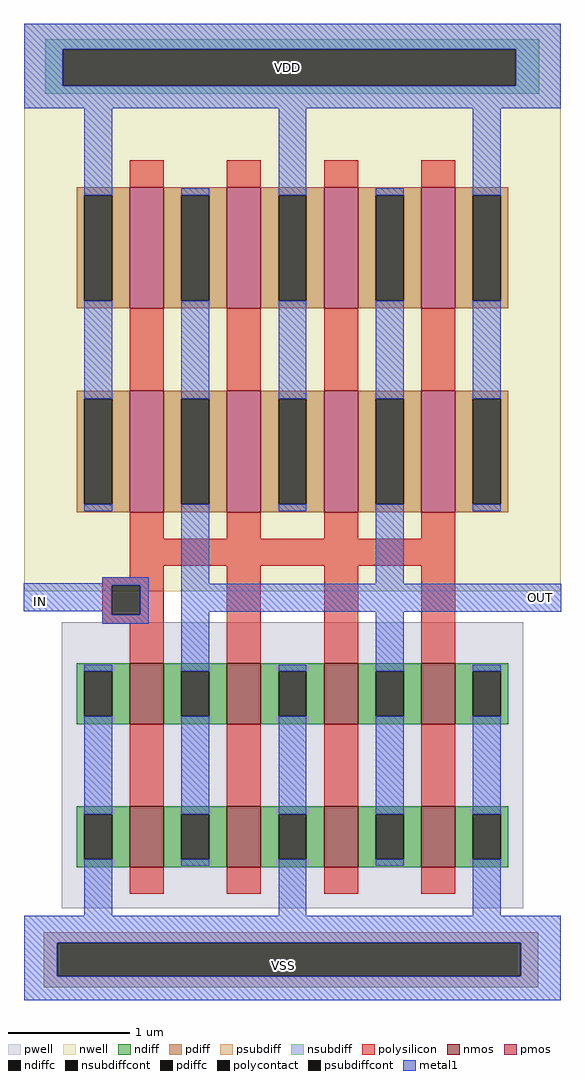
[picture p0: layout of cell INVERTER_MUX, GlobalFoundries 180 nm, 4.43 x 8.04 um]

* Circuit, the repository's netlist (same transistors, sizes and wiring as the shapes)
* NGSPICE file created from INVERTER_MUX.ext - technology: gf180mcuC

.subckt pmos_3p3_MWBYAR a_108_n268# a_n356_68# a_268_n268# a_268_68# a_n52_68# a_52_24#
+ a_108_68# a_n356_n268# a_52_n312# a_n52_n268# a_212_24# a_n108_n312# a_212_n312#
+ a_n212_68# a_n212_n268# a_n268_24# a_n268_n312# a_n108_24# w_n442_n398#
X0 a_268_68# a_212_24# a_108_68# w_n442_n398# pfet_03v3 ad=0.44p pd=2.88u as=0.26p ps=1.52u w=1u l=0.28u
X1 a_n212_68# a_n268_24# a_n356_68# w_n442_n398# pfet_03v3 ad=0.26p pd=1.52u as=0.44p ps=2.88u w=1u l=0.28u
X2 a_108_n268# a_52_n312# a_n52_n268# w_n442_n398# pfet_03v3 ad=0.26p pd=1.52u as=0.26p ps=1.52u w=1u l=0.28u
X3 a_268_n268# a_212_n312# a_108_n268# w_n442_n398# pfet_03v3 ad=0.44p pd=2.88u as=0.26p ps=1.52u w=1u l=0.28u
X4 a_n52_68# a_n108_24# a_n212_68# w_n442_n398# pfet_03v3 ad=0.26p pd=1.52u as=0.26p ps=1.52u w=1u l=0.28u
X5 a_n212_n268# a_n268_n312# a_n356_n268# w_n442_n398# pfet_03v3 ad=0.26p pd=1.52u as=0.44p ps=2.88u w=1u l=0.28u
X6 a_n52_n268# a_n108_n312# a_n212_n268# w_n442_n398# pfet_03v3 ad=0.26p pd=1.52u as=0.26p ps=1.52u w=1u l=0.28u
X7 a_108_68# a_52_24# a_n52_68# w_n442_n398# pfet_03v3 ad=0.26p pd=1.52u as=0.26p ps=1.52u w=1u l=0.28u
.ends

.subckt nmos_3p3_MEGST2 a_n212_n168# a_n268_n212# a_n356_68# a_268_68# a_n52_68# a_52_24#
+ a_108_68# a_108_n168# a_268_n168# a_212_24# a_n212_68# a_n356_n168# a_n268_24# a_52_n212#
+ a_n52_n168# a_n108_24# a_n108_n212# a_212_n212# VSUBS
X0 a_268_68# a_212_24# a_108_68# VSUBS nfet_03v3 ad=0.22p pd=1.88u as=0.13p ps=1.02u w=0.5u l=0.28u
X1 a_n212_68# a_n268_24# a_n356_68# VSUBS nfet_03v3 ad=0.13p pd=1.02u as=0.22p ps=1.88u w=0.5u l=0.28u
X2 a_n52_68# a_n108_24# a_n212_68# VSUBS nfet_03v3 ad=0.13p pd=1.02u as=0.13p ps=1.02u w=0.5u l=0.28u
X3 a_108_68# a_52_24# a_n52_68# VSUBS nfet_03v3 ad=0.13p pd=1.02u as=0.13p ps=1.02u w=0.5u l=0.28u
X4 a_108_n168# a_52_n212# a_n52_n168# VSUBS nfet_03v3 ad=0.13p pd=1.02u as=0.13p ps=1.02u w=0.5u l=0.28u
X5 a_268_n168# a_212_n212# a_108_n168# VSUBS nfet_03v3 ad=0.22p pd=1.88u as=0.13p ps=1.02u w=0.5u l=0.28u
X6 a_n212_n168# a_n268_n212# a_n356_n168# VSUBS nfet_03v3 ad=0.13p pd=1.02u as=0.22p ps=1.88u w=0.5u l=0.28u
X7 a_n52_n168# a_n108_n212# a_n212_n168# VSUBS nfet_03v3 ad=0.13p pd=1.02u as=0.13p ps=1.02u w=0.5u l=0.28u
.ends

.subckt INVERTER_MUX VDD VSS IN OUT
Xpmos_3p3_MWBYAR_0 OUT VDD VDD VDD VDD IN OUT VDD IN VDD IN IN IN OUT OUT IN IN IN
+ VDD pmos_3p3_MWBYAR
Xnmos_3p3_MEGST2_0 OUT IN VSS VSS VSS IN OUT OUT VSS IN OUT VSS IN IN VSS IN IN IN
+ VSS nmos_3p3_MEGST2
.ends

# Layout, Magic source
magic
tech gf180mcuC
magscale 1 10
<< nwell >>
rect 0 796 884 935
<< psubdiff >>
rect 32 -580 847 -562
rect 32 -635 54 -580
rect 818 -635 847 -580
rect 32 -653 847 -635
<< nsubdiff >>
rect 34 893 849 910
rect 34 833 63 893
rect 810 833 849 893
rect 34 820 849 833
<< psubdiffcont >>
rect 54 -635 818 -580
<< nsubdiffcont >>
rect 63 833 810 893
<< polysilicon >>
rect 174 373 230 424
rect 334 373 390 424
rect 494 373 550 424
rect 654 372 710 423
rect 174 86 230 91
rect 334 86 390 88
rect 494 86 550 90
rect 654 86 710 90
rect 174 42 710 86
rect 174 23 230 42
rect 128 10 230 23
rect 128 -39 144 10
rect 191 -39 230 10
rect 128 -54 230 -39
rect 174 -75 230 -54
rect 334 -78 390 42
rect 494 -76 550 42
rect 654 -76 710 42
rect 174 -312 230 -263
rect 334 -312 390 -263
rect 494 -312 550 -262
rect 654 -312 710 -262
<< polycontact >>
rect 144 -39 191 10
<< metal1 >>
rect 0 893 884 935
rect 0 833 63 893
rect 810 833 884 893
rect 0 796 884 833
rect 99 653 145 796
rect 419 653 465 796
rect 739 653 785 796
rect 99 317 145 479
rect 259 317 305 479
rect 419 317 465 479
rect 579 317 625 479
rect 739 317 785 479
rect 128 13 205 23
rect -1 10 205 13
rect -1 -33 144 10
rect 128 -39 144 -33
rect 191 -39 205 10
rect 128 -54 205 -39
rect 259 12 305 143
rect 579 12 625 143
rect 259 -34 885 12
rect 259 -132 305 -34
rect 579 -132 625 -34
rect 99 -368 145 -206
rect 259 -368 305 -206
rect 419 -368 465 -206
rect 579 -368 625 -206
rect 739 -368 785 -206
rect 99 -535 145 -442
rect 419 -535 465 -442
rect 739 -535 785 -442
rect 0 -580 884 -535
rect 0 -635 54 -580
rect 818 -635 884 -580
rect 0 -674 884 -635
use nmos_3p3_MEGST2  nmos_3p3_MEGST2_0
transform 1 0 442 0 1 -287
box -380 -236 380 236
use pmos_3p3_MWBYAR  pmos_3p3_MWBYAR_0
transform 1 0 442 0 1 398
box -442 -398 442 398
<< labels >>
flabel nsubdiffcont 434 863 434 863 0 FreeSans 800 0 0 0 VDD
port 0 nsew
flabel psubdiffcont 425 -618 428 -615 0 FreeSans 800 0 0 0 VSS
port 1 nsew
flabel metal1 27 -17 27 -17 0 FreeSans 800 0 0 0 IN
port 3 nsew
flabel metal1 851 -11 851 -11 0 FreeSans 800 0 0 0 OUT
port 5 nsew
<< end >>

# cell nmos_3p3_MEGST2: kit device nmos_3p3, w 0.5 l 0.280 m 2 nf 4 diffcov 100 polycov 100 guard 0 glc 0 grc 0 gtc 0 gbc 0 tbcov 100 rlcov 100 topc 0 botc 0 poverlap 0 doverlap 1 lmin 0.28 wmin 0.22 full_metal 0 compatible {nmos_3p3 nmos_6p0 nmos_6p0_nat}

# cell pmos_3p3_MWBYAR: kit device pmos_3p3, w 1 l 0.280 m 2 nf 4 diffcov 100 polycov 100 guard 0 glc 0 grc 0 gtc 0 gbc 0 tbcov 100 rlcov 100 topc 0 botc 0 poverlap 0 doverlap 1 lmin 0.28 wmin 0.22 full_metal 0 compatible {pmos_3p3 pmos_6p0}
